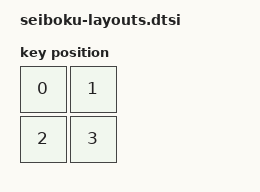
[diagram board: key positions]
#include <physical_layouts.dtsi>

/ {
    seiboku_physical_layout: seiboku_physical_layout {
        compatible = "zmk,physical-layout";
        display-name = "Default Layout";

        // Reference to the kscan and matrix transform nodes
        kscan = <&kscan0>;
        transform = <&default_transform>;

        keys  //                     w   h    x    y     rot    rx    ry
            = <&key_physical_attrs 100 100    0    0       0     0     0>
            , <&key_physical_attrs 100 100  100    0       0     0     0>
            , <&key_physical_attrs 100 100    0  100       0     0     0>
            , <&key_physical_attrs 100 100  100  100       0     0     0>
            ;
    };
};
